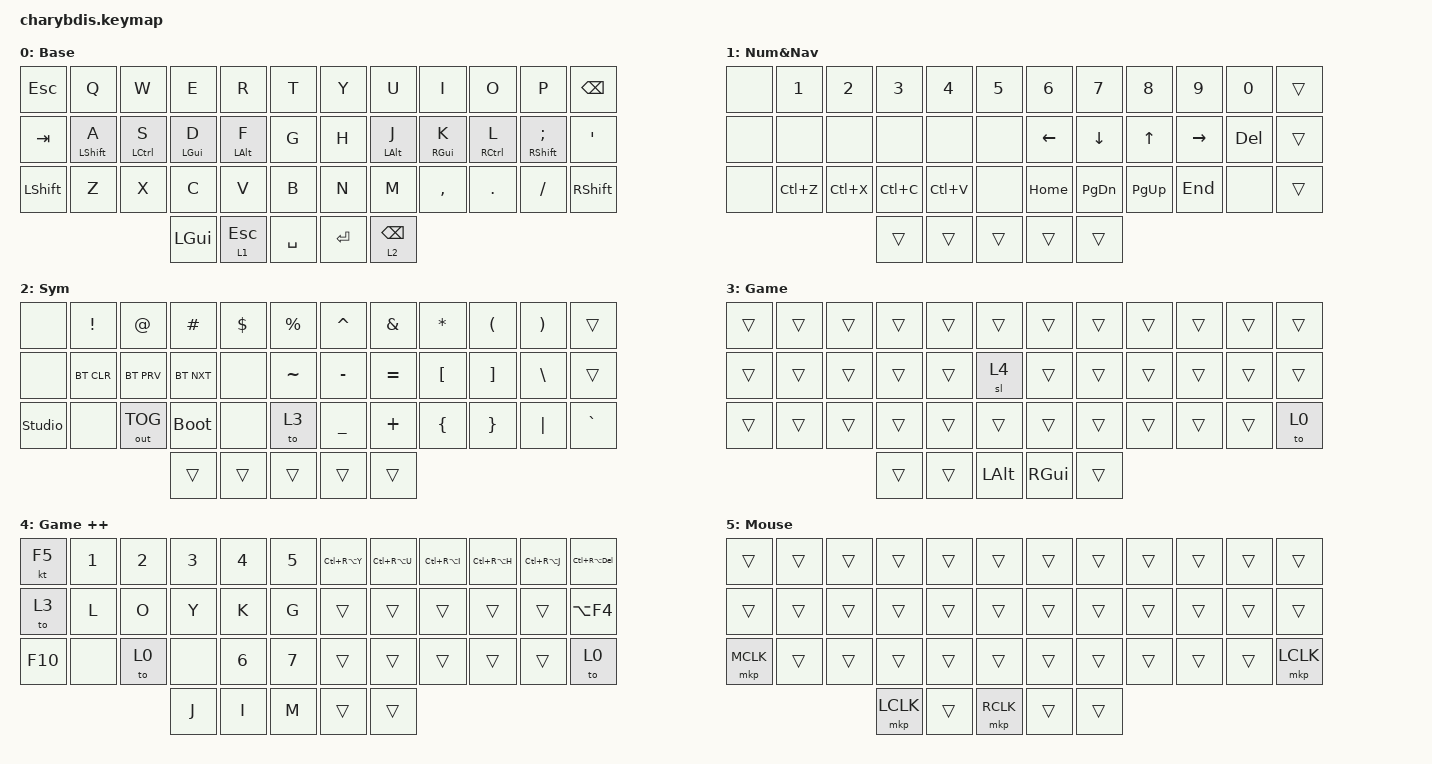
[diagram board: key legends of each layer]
#include <behaviors.dtsi>
#include <dt-bindings/zmk/keys.h>
#include <dt-bindings/zmk/bt.h>
#include <dt-bindings/zmk/ext_power.h>
#include <dt-bindings/zmk/pointing.h>
#include <dt-bindings/zmk/outputs.h>

/ {
    /* Trackball listener and input processors (cursor scaling, auto-mouse
       layer 5, scroll on layer 1) live in
       boards/shields/charybdis/charybdis_dongle.overlay, since only the
       dongle (central) has the input listener. */

    behaviors {
        hm: homerow_mods {
            compatible = "zmk,behavior-hold-tap";
            #binding-cells = <2>;
            flavor = "tap-preferred";
            tapping-term-ms = <200>;
            quick-tap-ms = <125>;
            global-quick-tap;
            require-prior-idle-ms = <120>;
            bindings = <&kp>, <&kp>;
        };

        tl: layer_tap_sym {
            compatible = "zmk,behavior-hold-tap";
            #binding-cells = <2>;
            flavor = "hold-preferred";
            tapping-term-ms = <200>;
            quick-tap-ms = <125>;
            bindings = <&mo>, <&kp>;
        };

        lt: layer_tap {
            compatible = "zmk,behavior-hold-tap";
            #binding-cells = <2>;
            flavor = "balanced";
            tapping-term-ms = <240>;
            quick-tap-ms = <150>;
            bindings = 
                <&mo>,
                <&kp>;
        };
    };

    keymap {
        compatible = "zmk,keymap";

        Base {
            display-name = "Base";
            bindings = <
&kp ESC    &kp Q         &kp W        &kp E        &kp R        &kp T      &kp Y    &kp U         &kp I       &kp O        &kp P           &kp BSPC
&kp TAB    &hm LSHFT A   &hm LCTRL S  &hm LGUI D   &hm LALT F   &kp G      &kp H    &hm LALT J    &hm RGUI K  &hm RCTRL L  &hm RSHFT SEMI  &kp APOS
&kp LSHFT  &kp Z         &kp X        &kp C        &kp V        &kp B      &kp N    &kp M         &kp COMMA   &kp DOT      &kp FSLH        &kp RSHFT
                                      &kp LGUI     &tl 1 ESC    &kp SPACE  &kp RET  &tl 2 BSPC
            >;
        };

        Nav {
            display-name = "Num&Nav";
            bindings = <
&none  &kp N1     &kp N2     &kp N3     &kp N4     &kp N5    &kp N6     &kp N7     &kp N8     &kp N9     &kp N0   &trans
&none  &none      &none      &none      &none      &none     &kp LEFT   &kp DOWN   &kp UP     &kp RIGHT  &kp DEL  &trans
&none  &kp LC(Z)  &kp LC(X)  &kp LC(C)  &kp LC(V)  &none     &kp HOME   &kp PG_DN  &kp PG_UP  &kp END    &none   &trans
                             &trans     &trans     &trans    &trans     &trans
            >;
        };

        Sym {
            display-name = "Sym";
            bindings = <
&none           &kp EXCL  &kp AT       &kp HASH    &kp DLLR  &kp PRCNT   &kp CARET  &kp AMPS   &kp STAR  &kp LPAR  &kp RPAR  &trans
&none           &bt BT_CLR &bt BT_PRV  &bt BT_NXT  &none     &kp TILDE   &kp MINUS  &kp EQUAL  &kp LBKT  &kp RBKT  &kp BSLH  &trans
&studio_unlock  &none     &out OUT_TOG &bootloader &none     &to 3       &kp UNDER  &kp PLUS   &kp LBRC  &kp RBRC  &kp PIPE  &kp GRAVE
                                       &trans      &trans    &trans      &trans     &trans
            >;
        };

        Game {
            display-name = "Game";
            bindings = <
&trans  &trans  &trans  &trans  &trans        &trans      &trans  &trans  &trans  &trans  &trans  &trans
&trans  &trans  &trans  &trans  &trans         &sl 4      &trans  &trans  &trans  &trans  &trans  &trans
&trans  &trans  &trans  &trans  &trans        &trans      &trans  &trans  &trans  &trans  &trans   &to 0
                        &trans  &trans  &kp LEFT_ALT    &kp RGUI  &trans
            >;
        };

        Game_++ {
            display-name = "Game ++";
            bindings = <
 &kt F5  &kp NUMBER_1  &kp NUMBER_2  &kp NUMBER_3  &kp NUMBER_4  &kp NUMBER_5    &kp LC(RA(Y))  &kp LC(RA(U))  &kp LC(RA(I))  &kp LC(RA(H))  &kp LC(RA(J))  &kp LC(RA(DEL))
  &to 3         &kp L         &kp O         &kp Y         &kp K         &kp G           &trans         &trans         &trans         &trans         &trans       &kp LA(F4)
&kp F10         &none         &to 0         &none  &kp NUMBER_6  &kp NUMBER_7           &trans         &trans         &trans         &trans         &trans            &to 0
                                            &kp J         &kp I         &kp M           &trans         &trans
            >;
        };

        Mouse {
            display-name = "Mouse";
            bindings = <
   &trans  &trans  &trans     &trans  &trans     &trans    &trans  &trans  &trans  &trans  &trans     &trans
   &trans  &trans  &trans     &trans  &trans     &trans    &trans  &trans  &trans  &trans  &trans     &trans
&mkp MCLK  &trans  &trans     &trans  &trans     &trans    &trans  &trans  &trans  &trans  &trans  &mkp LCLK
                           &mkp LCLK  &trans  &mkp RCLK    &trans  &trans
            >;
        };
    };
};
